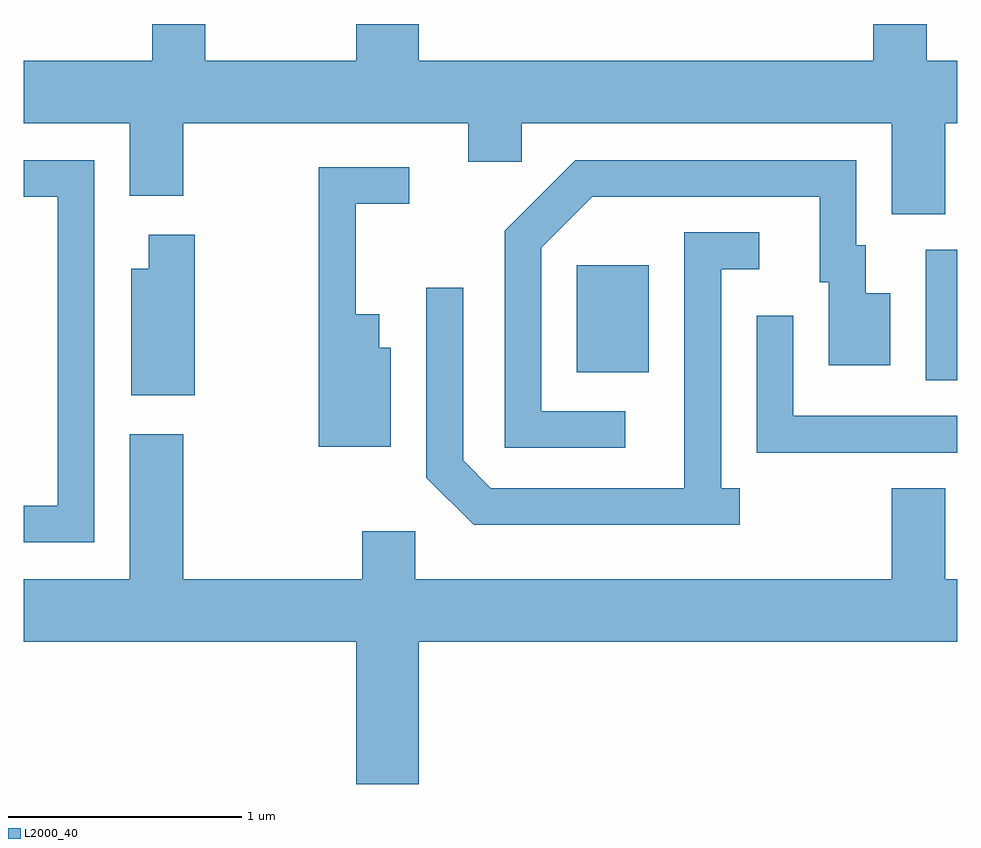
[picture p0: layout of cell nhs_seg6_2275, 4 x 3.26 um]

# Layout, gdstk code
import gdstk
lib = gdstk.Library(unit=1e-6, precision=1e-09)
def R(c, l, rs):  # rectangles x0, y0, x1, y1
    for r in rs: c.add(gdstk.rectangle(r[:2], r[2:], *l))
def P(c, l, *ps):  # polygons
    for p in ps: c.add(gdstk.Polygon(p, *l))
L2000_40 = (2000, 40)

nhs_seg6_2275 = lib.new_cell('nhs_seg6_2275')
R(nhs_seg6_2275, L2000_40, [(257.476,1626.636,257.611,1627.194), (255.981,1626.671,256.289,1627.129)])
P(nhs_seg6_2275, L2000_40, [(257.559,1627.736),(257.611,1627.736),(257.611,1628.004),(257.479,1628.004),(257.479,1628.162),(257.251,1628.162),(257.251,1628.004),(255.304,1628.004),(255.304,1628.162),(255.036,1628.162),(255.036,1628.004),(254.389,1628.004),(254.389,1628.162),(254.161,1628.162),(254.161,1628.004),(253.611,1628.004),(253.611,1627.736),(254.066,1627.736),(254.066,1627.426),(254.294,1627.426),(254.294,1627.736),(255.516,1627.736),(255.516,1627.571),(255.744,1627.571),(255.744,1627.736),(257.331,1627.736),(257.331,1627.346),(257.559,1627.346)],
  [(256.188,1626.504),(255.829,1626.504),(255.829,1627.204),(256.046,1627.421),(257.021,1627.421),(257.021,1627.056),(257.061,1627.056),(257.061,1626.701),(257.324,1626.701),(257.324,1627.009),(257.219,1627.009),(257.219,1627.214),(257.179,1627.214),(257.179,1627.579),(255.974,1627.579),(255.671,1627.277),(255.671,1626.346),(256.188,1626.346)],
  [(253.914,1627.579),(253.611,1627.579),(253.611,1627.421),(253.756,1627.421),(253.756,1626.099),(253.611,1626.099),(253.611,1625.941),(253.914,1625.941)],
  [(255.184,1626.774),(255.134,1626.774),(255.134,1626.919),(255.034,1626.919),(255.034,1627.391),(255.263,1627.391),(255.263,1627.549),(254.876,1627.549),(254.876,1626.351),(255.184,1626.351)],
  [(256.678,1626.174),(256.599,1626.174),(256.599,1627.111),(256.763,1627.111),(256.763,1627.269),(256.441,1627.269),(256.441,1626.174),(255.612,1626.174),(255.494,1626.292),(255.494,1627.033),(255.336,1627.033),(255.336,1626.219),(255.539,1626.016),(256.678,1626.016)],
  [(254.344,1627.259),(254.146,1627.259),(254.146,1627.114),(254.071,1627.114),(254.071,1626.571),(254.344,1626.571)],
  [(257.611,1626.484),(256.909,1626.484),(256.909,1626.913),(256.751,1626.913),(256.751,1626.326),(257.611,1626.326)],
  [(255.289,1625.989),(255.061,1625.989),(255.061,1625.784),(254.294,1625.784),(254.294,1626.404),(254.066,1626.404),(254.066,1625.784),(253.611,1625.784),(253.611,1625.516),(255.036,1625.516),(255.036,1624.906),(255.304,1624.906),(255.304,1625.516),(257.611,1625.516),(257.611,1625.784),(257.559,1625.784),(257.559,1626.174),(257.331,1626.174),(257.331,1625.784),(255.289,1625.784)])

lib.write_gds('nhs_seg6_2275.gds')
